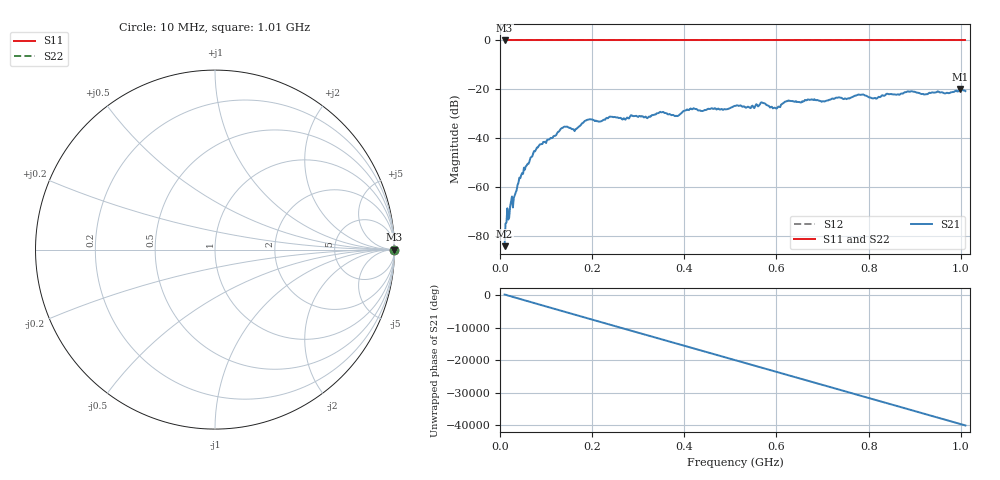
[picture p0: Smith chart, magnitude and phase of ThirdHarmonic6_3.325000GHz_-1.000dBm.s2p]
! 8/17/2025 10:25:50 AM
! C:\ANRITSUVNA\TEMP\TEMP.S2P
! CHANNEL.1
! TR.MEASUREMENT
! RAW.DATA
! RF.CORRECTION.OFF
! AVERAGING.OFF
! IF.BANDWIDTH: 5KHZ
! SWEEPTYPE:  FREQ.SWEEP(Linear)
! Reference Plane Port Info
! PORT:  PORT1  PORT2
! DISTANCE:  0  m  0  m
! TIME:  0  s  0  s
! PHASE.OFFSET:  0  deg.  0  deg.
! LOSS:  0  dB  0  dB
! REF.LOSS:  0  dB  0  dB
! REF.FREQ:  0  Hz  0  Hz
! Power Info
! POWER:  -20  dBm  -20  dBm
! EFF.POWER:  -20  dBm  -20  dBm
! SOURCE.ATTEN:  0  dB  0  dB
! TEST.ATTEN:  0  dB  0  dB
# GHZ S RI R 50.0
! FREQ.GHZ  S11RE  S11IM  S21RE  S21IM  S12RE  S12IM  S22RE  S22IM
!; PortSelection: Port_12
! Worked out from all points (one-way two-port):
!   501 points, 10 MHz to 1.01 GHz, reference 50 ohm
!   highest |S21| = -19.75 dB at 998 MHz (marker M1); lowest = -84.0 dB at 10 MHz (marker M2)
!   lowest |S11| = 0.0 dB at 10 MHz (marker M3)
!   |S11| at or under -10 dB: nowhere
!   |S22| runs from 0.0 to 0.0 dB; largest |S21 - S12| = 1.1
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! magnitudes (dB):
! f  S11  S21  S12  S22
! 10 MHz  0.0  -84.0  0.0  0.0
! 20 MHz  0.0  -72.2  0.0  0.0
! 42 MHz  0.0  -56.0  0.0  0.0
! 76 MHz  0.0  -45.3  0.0  0.0
! 136 MHz  0.0  -35.7  0.0  0.0
! 162 MHz  0.0  -37.0  0.0  0.0
! 178 MHz  0.0  -33.8  0.0  0.0
! 192 MHz  0.0  -32.3  0.0  0.0
! 322 MHz  0.0  -31.3  0.0  0.0
! 344 MHz  0.0  -29.6  0.0  0.0
! 384 MHz  0.0  -30.9  0.0  0.0
! 416 MHz  0.0  -28.1  0.0  0.0
! 510 MHz  0.0  -26.7  0.0  0.0
! 570 MHz  0.0  -25.5  0.0  0.0
! 596 MHz  0.0  -27.4  0.0  0.0
! 622 MHz  0.0  -24.8  0.0  0.0
! 678 MHz  0.0  -24.1  0.0  0.0
! 784 MHz  0.0  -22.2  0.0  0.0
! 814 MHz  0.0  -23.5  0.0  0.0
! 844 MHz  0.0  -22.0  0.0  0.0
! 998 MHz  0.0  -19.7  0.0  0.0
! 1.01 GHz  0.0  -20.7  0.0  0.0
